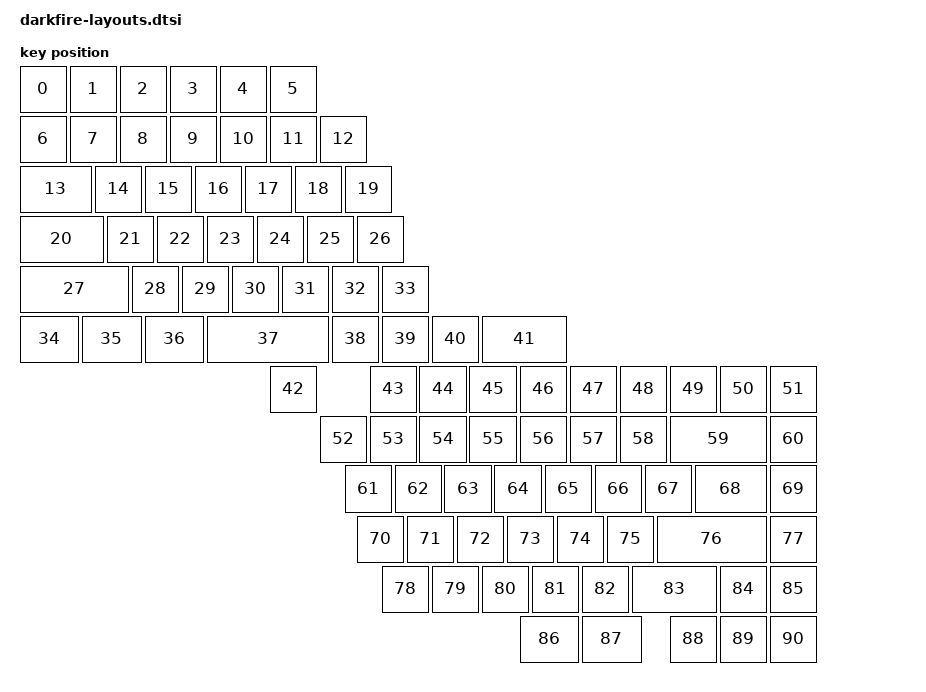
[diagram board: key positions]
#include <physical_layouts.dtsi>

/ {
    physical_layout0: physical_layout_0 {
        compatible = "zmk,physical-layout";
        display-name = "Darkfire";

         keys  //                     w   h    x    y     rot    rx    ry
            = <&key_physical_attrs 100 100    0    0       0     0     0>
            , <&key_physical_attrs 100 100  100    0       0     0     0>
            , <&key_physical_attrs 100 100  200    0       0     0     0>
            , <&key_physical_attrs 100 100  300    0       0     0     0>
            , <&key_physical_attrs 100 100  400    0       0     0     0>
            , <&key_physical_attrs 100 100  500    0       0     0     0>
            , <&key_physical_attrs 100 100    0  100       0     0     0>
            , <&key_physical_attrs 100 100  100  100       0     0     0>
            , <&key_physical_attrs 100 100  200  100       0     0     0>
            , <&key_physical_attrs 100 100  300  100       0     0     0>
            , <&key_physical_attrs 100 100  400  100       0     0     0>
            , <&key_physical_attrs 100 100  500  100       0     0     0>
            , <&key_physical_attrs 100 100  600  100       0     0     0>
            , <&key_physical_attrs 150 100    0  200       0     0     0>
            , <&key_physical_attrs 100 100  150  200       0     0     0>
            , <&key_physical_attrs 100 100  250  200       0     0     0>
            , <&key_physical_attrs 100 100  350  200       0     0     0>
            , <&key_physical_attrs 100 100  450  200       0     0     0>
            , <&key_physical_attrs 100 100  550  200       0     0     0>
            , <&key_physical_attrs 100 100  650  200       0     0     0>
            , <&key_physical_attrs 175 100    0  300       0     0     0>
            , <&key_physical_attrs 100 100  175  300       0     0     0>
            , <&key_physical_attrs 100 100  275  300       0     0     0>
            , <&key_physical_attrs 100 100  375  300       0     0     0>
            , <&key_physical_attrs 100 100  475  300       0     0     0>
            , <&key_physical_attrs 100 100  575  300       0     0     0>
            , <&key_physical_attrs 100 100  675  300       0     0     0>
            , <&key_physical_attrs 225 100    0  400       0     0     0>
            , <&key_physical_attrs 100 100  225  400       0     0     0>
            , <&key_physical_attrs 100 100  325  400       0     0     0>
            , <&key_physical_attrs 100 100  425  400       0     0     0>
            , <&key_physical_attrs 100 100  525  400       0     0     0>
            , <&key_physical_attrs 100 100  625  400       0     0     0>
            , <&key_physical_attrs 100 100  725  400       0     0     0>
            , <&key_physical_attrs 125 100    0  500       0     0     0>
            , <&key_physical_attrs 125 100  125  500       0     0     0>
            , <&key_physical_attrs 125 100  250  500       0     0     0>
            , <&key_physical_attrs 250 100  375  500       0     0     0>
            , <&key_physical_attrs 100 100  625  500       0     0     0>
            , <&key_physical_attrs 100 100  725  500       0     0     0>
            , <&key_physical_attrs 100 100  825  500       0     0     0>
            , <&key_physical_attrs 175 100  925  500       0     0     0>
            , <&key_physical_attrs 100 100  500  600       0     0     0>
            , <&key_physical_attrs 100 100  700  600       0     0     0>
            , <&key_physical_attrs 100 100  800  600       0     0     0>
            , <&key_physical_attrs 100 100  900  600       0     0     0>
            , <&key_physical_attrs 100 100 1000  600       0     0     0>
            , <&key_physical_attrs 100 100 1100  600       0     0     0>
            , <&key_physical_attrs 100 100 1200  600       0     0     0>
            , <&key_physical_attrs 100 100 1300  600       0     0     0>
            , <&key_physical_attrs 100 100 1400  600       0     0     0>
            , <&key_physical_attrs 100 100 1500  600       0     0     0>
            , <&key_physical_attrs 100 100  600  700       0     0     0>
            , <&key_physical_attrs 100 100  700  700       0     0     0>
            , <&key_physical_attrs 100 100  800  700       0     0     0>
            , <&key_physical_attrs 100 100  900  700       0     0     0>
            , <&key_physical_attrs 100 100 1000  700       0     0     0>
            , <&key_physical_attrs 100 100 1100  700       0     0     0>
            , <&key_physical_attrs 100 100 1200  700       0     0     0>
            , <&key_physical_attrs 200 100 1300  700       0     0     0>
            , <&key_physical_attrs 100 100 1500  700       0     0     0>
            , <&key_physical_attrs 100 100  650  800       0     0     0>
            , <&key_physical_attrs 100 100  750  800       0     0     0>
            , <&key_physical_attrs 100 100  850  800       0     0     0>
            , <&key_physical_attrs 100 100  950  800       0     0     0>
            , <&key_physical_attrs 100 100 1050  800       0     0     0>
            , <&key_physical_attrs 100 100 1150  800       0     0     0>
            , <&key_physical_attrs 100 100 1250  800       0     0     0>
            , <&key_physical_attrs 150 100 1350  800       0     0     0>
            , <&key_physical_attrs 100 100 1500  800       0     0     0>
            , <&key_physical_attrs 100 100  675  900       0     0     0>
            , <&key_physical_attrs 100 100  775  900       0     0     0>
            , <&key_physical_attrs 100 100  875  900       0     0     0>
            , <&key_physical_attrs 100 100  975  900       0     0     0>
            , <&key_physical_attrs 100 100 1075  900       0     0     0>
            , <&key_physical_attrs 100 100 1175  900       0     0     0>
            , <&key_physical_attrs 225 100 1275  900       0     0     0>
            , <&key_physical_attrs 100 100 1500  900       0     0     0>
            , <&key_physical_attrs 100 100  725 1000       0     0     0>
            , <&key_physical_attrs 100 100  825 1000       0     0     0>
            , <&key_physical_attrs 100 100  925 1000       0     0     0>
            , <&key_physical_attrs 100 100 1025 1000       0     0     0>
            , <&key_physical_attrs 100 100 1125 1000       0     0     0>
            , <&key_physical_attrs 175 100 1225 1000       0     0     0>
            , <&key_physical_attrs 100 100 1400 1000       0     0     0>
            , <&key_physical_attrs 100 100 1500 1000       0     0     0>
            , <&key_physical_attrs 125 100 1000 1100       0     0     0>
            , <&key_physical_attrs 125 100 1125 1100       0     0     0>
            , <&key_physical_attrs 100 100 1300 1100       0     0     0>
            , <&key_physical_attrs 100 100 1400 1100       0     0     0>
            , <&key_physical_attrs 100 100 1500 1100       0     0     0>
            ;
    };
};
